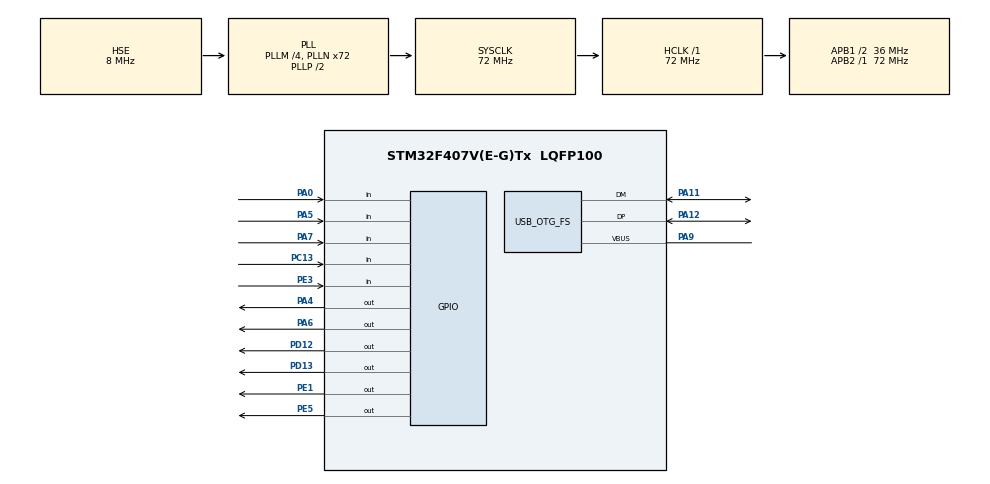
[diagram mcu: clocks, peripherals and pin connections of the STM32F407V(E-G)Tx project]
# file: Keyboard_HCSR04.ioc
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FREERTOS.Tasks01=jump,24,128,jump_thread,Default,NULL,Dynamic,NULL,NULL;right,24,128,right_thread,Default,NULL,Dynamic,NULL,NULL;debug,8,128,debug_thread,Default,NULL,Dynamic,NULL,NULL
Mcu.Family=STM32F4
Mcu.Name=STM32F407V(E-G)Tx
Mcu.Package=LQFP100
NVIC.OTG_FS_IRQn=true\:5\:0\:false\:false\:true\:true\:false\:true\:true
NVIC.PriorityGroup=NVIC_PRIORITYGROUP_4
NVIC.TIM6_DAC_IRQn=true\:15\:0\:false\:false\:true\:false\:false\:true\:true
NVIC.TimeBase=TIM6_DAC_IRQn
NVIC.TimeBaseIP=TIM6
PA0-WKUP.Signal=GPIO_Input
PA11.Mode=Device_Only
PA11.Signal=USB_OTG_FS_DM
PA12.Mode=Device_Only
PA12.Signal=USB_OTG_FS_DP
PA4.Signal=GPIO_Output
PA5.Signal=GPIO_Input
PA6.Signal=GPIO_Output
PA7.Signal=GPIO_Input
PA9.Mode=Activate_VBUS
PA9.Signal=USB_OTG_FS_VBUS
PC13-ANTI_TAMP.Signal=GPIO_Input
PD12.Signal=GPIO_Output
PD13.Signal=GPIO_Output
PE1.Signal=GPIO_Output
PE3.Signal=GPIO_Input
PE5.Signal=GPIO_Output
PH0-OSC_IN.Mode=HSE-External-Oscillator
PH0-OSC_IN.Signal=RCC_OSC_IN
PH1-OSC_OUT.Mode=HSE-External-Oscillator
PH1-OSC_OUT.Signal=RCC_OSC_OUT
ProjectManager.HeapSize=0x200
ProjectManager.StackSize=0x400
ProjectManager.TargetToolchain=CMake
RCC.48MHZClocksFreq_Value=48000000
RCC.AHBFreq_Value=72000000
RCC.APB1CLKDivider=RCC_HCLK_DIV2
RCC.APB1Freq_Value=36000000
RCC.APB1TimFreq_Value=72000000
RCC.APB2Freq_Value=72000000
RCC.APB2TimFreq_Value=72000000
RCC.CortexFreq_Value=72000000
RCC.HCLKFreq_Value=72000000
RCC.HSE_VALUE=8000000
RCC.HSI_VALUE=16000000
RCC.LSE_VALUE=32768
RCC.PLLM=4
RCC.PLLN=72
RCC.PLLQ=3
RCC.SYSCLKFreq_VALUE=72000000
RCC.SYSCLKSource=RCC_SYSCLKSOURCE_PLLCLK
RCC.VCOOutputFreq_Value=144000000
TIM1.Prescaler=72-1
USB_DEVICE.CLASS_NAME_FS=CUSTOM_HID
USB_DEVICE.USBD_CUSTOM_HID_REPORT_DESC_SIZE-CUSTOM_HID_FS=63
USB_DEVICE.VirtualMode-CUSTOM_HID_FS=CustomHid
USB_DEVICE.VirtualModeFS=Custom_Hid_FS
USB_OTG_FS.VirtualMode=Device_Only
VP_FREERTOS_VS_CMSIS_V2.Mode=CMSIS_V2
VP_SYS_VS_tim6.Mode=TIM6
VP_TIM1_VS_ClockSourceINT.Mode=Internal
VP_USB_DEVICE_VS_USB_DEVICE_CUSTOM_HID_FS.Mode=CUSTOM_HID_FS
board=custom

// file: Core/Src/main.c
/* USER CODE BEGIN Header */
/**
  ******************************************************************************
  * @file           : main.c
  * @brief          : Main program body
  ******************************************************************************
  * @attention
  *
  * Copyright (c) 2025 STMicroelectronics.
  * All rights reserved.
  *
  * This software is licensed under terms that can be found in the LICENSE file
  * in the root directory of this software component.
  * If no LICENSE file comes with this software, it is provided AS-IS.
  *
  ******************************************************************************
  */
/* USER CODE END Header */
#include "main.h"
#include "cmsis_os.h"
#include "usb_device.h"

/* USER CODE BEGIN Includes */
#include <stdint.h>
#include <stdbool.h>
#include "usbd_customhid.h"
/* USER CODE END Includes */

/* USER CODE BEGIN PD */
#define SENSOR_1_TRIGGER_PORT            GPIOE
#define SENSOR_1_TRIGGER_PIN             GPIO_PIN_1
#define SENSOR_1_ECHO_PORT               GPIOE
#define SENSOR_1_ECHO_PIN                GPIO_PIN_3
#define SENSOR_2_TRIGGER_PORT            GPIOE
#define SENSOR_2_TRIGGER_PIN             GPIO_PIN_5
#define SENSOR_2_ECHO_PORT               GPIOC
#define SENSOR_2_ECHO_PIN                GPIO_PIN_13
extern USBD_HandleTypeDef hUsbDeviceFS;
/* USER CODE END PD */

/* USER CODE BEGIN PM */
typedef struct {
  uint8_t MODIFIER;
  uint8_t RESERVED;
  uint8_t KEYCODE1;
  uint8_t KEYCODE2;
  uint8_t KEYCODE3;
  uint8_t KEYCODE4;
  uint8_t KEYCODE5;
  uint8_t KEYCODE6;
} KEYBOARD;
typedef struct{
  uint64_t numTicks1;
  uint64_t numTicks2;
} ECHO;
typedef struct{
  float distance1;
  float distance2;
  float avg_distance;
} DISTANCE;
/* USER CODE END PM */

TIM_HandleTypeDef htim1;

/* Definitions for jump */
osThreadId_t jumpHandle;
const osThreadAttr_t jump_attributes = {
  .name = "jump",
  .stack_size = 128 * 4,
  .priority = (osPriority_t) osPriorityNormal,
};
/* Definitions for right */
osThreadId_t rightHandle;
const osThreadAttr_t right_attributes = {
  .name = "right",
  .stack_size = 128 * 4,
  .priority = (osPriority_t) osPriorityNormal,
};
/* Definitions for debug */
osThreadId_t debugHandle;
const osThreadAttr_t debug_attributes = {
  .name = "debug",
  .stack_size = 128 * 4,
  .priority = (osPriority_t) osPriorityLow,
};
/* USER CODE BEGIN PV */
KEYBOARD JUMP_RIGHT_ON = {0x00,0x00,0x4F,0x1B,0x00,0x00,0x00,0x00};
KEYBOARD RIGHT = {0x00,0x00,0x4F,0x00,0x00,0x00,0x00,0x00};
KEYBOARD ENTER = {0x00,0x00,0x28,0x00,0x00,0x00,0x00,0x00};
KEYBOARD OFF = {0x00,0x00,0x00,0x00,0x00,0x00,0x00,0x00};
ECHO jump = {0,0};
ECHO right = {0,0};
DISTANCE distance_sensor = {0.0,0.0};
DISTANCE run_sensor = {0.0,0.0};
float sound_speed = 0.0343/2;
uint32_t start_time1 = 0;
uint32_t start_time2 = 0;
/* USER CODE END PV */

void SystemClock_Config(void);
static void MX_GPIO_Init(void);
static void MX_TIM1_Init(void);
void jump_thread(void *argument);
void right_thread(void *argument);
void debug_thread(void *argument);

/* USER CODE BEGIN PFP */
void delay_us(uint32_t usec);
void trigger(uint8_t sensor);
void keyboard_send_jump(void);
void keyboard_send_right(void);
/* USER CODE END PFP */

int main(void)
{

  /* MCU Configuration--------------------------------------------------------*/

  /* Reset of all peripherals, Initializes the Flash interface and the Systick. */
  HAL_Init();

  /* Configure the system clock */
  SystemClock_Config();

  /* Initialize all configured peripherals */
  MX_GPIO_Init();
  MX_TIM1_Init();
  /* USER CODE BEGIN 2 */
  HAL_GPIO_WritePin(GPIOA,GPIO_PIN_4, GPIO_PIN_RESET);
  HAL_GPIO_WritePin(GPIOA,GPIO_PIN_6, GPIO_PIN_RESET);
  /* USER CODE END 2 */

  /* Init scheduler */
  osKernelInitialize();

  /* USER CODE BEGIN RTOS_TIMERS */
  /* start timers, add new ones, ... */
  HAL_TIM_Base_Start(&htim1);
  /* USER CODE END RTOS_TIMERS */

  /* Create the thread(s) */
  /* creation of jump */
  jumpHandle = osThreadNew(jump_thread, NULL, &jump_attributes);

  /* creation of right */
  rightHandle = osThreadNew(right_thread, NULL, &right_attributes);

  /* creation of debug */
  debugHandle = osThreadNew(debug_thread, NULL, &debug_attributes);

  /* Start scheduler */
  osKernelStart();

  /* We should never get here as control is now taken by the scheduler */

  /* Infinite loop */
  while (1)
  {

  }
}

void SystemClock_Config(void)
{
  RCC_OscInitTypeDef RCC_OscInitStruct = {0};
  RCC_ClkInitTypeDef RCC_ClkInitStruct = {0};

  /** Configure the main internal regulator output voltage
  */
  __HAL_RCC_PWR_CLK_ENABLE();
  __HAL_PWR_VOLTAGESCALING_CONFIG(PWR_REGULATOR_VOLTAGE_SCALE1);

  /** Initializes the RCC Oscillators according to the specified parameters
  * in the RCC_OscInitTypeDef structure.
  */
  RCC_OscInitStruct.OscillatorType = RCC_OSCILLATORTYPE_HSE;
  RCC_OscInitStruct.HSEState = RCC_HSE_ON;
  RCC_OscInitStruct.PLL.PLLState = RCC_PLL_ON;
  RCC_OscInitStruct.PLL.PLLSource = RCC_PLLSOURCE_HSE;
  RCC_OscInitStruct.PLL.PLLM = 4;
  RCC_OscInitStruct.PLL.PLLN = 72;
  RCC_OscInitStruct.PLL.PLLP = RCC_PLLP_DIV2;
  RCC_OscInitStruct.PLL.PLLQ = 3;
  if (HAL_RCC_OscConfig(&RCC_OscInitStruct) != HAL_OK)
  {
    Error_Handler();
  }

  /** Initializes the CPU, AHB and APB buses clocks
  */
  RCC_ClkInitStruct.ClockType = RCC_CLOCKTYPE_HCLK|RCC_CLOCKTYPE_SYSCLK
                              |RCC_CLOCKTYPE_PCLK1|RCC_CLOCKTYPE_PCLK2;
  RCC_ClkInitStruct.SYSCLKSource = RCC_SYSCLKSOURCE_PLLCLK;
  RCC_ClkInitStruct.AHBCLKDivider = RCC_SYSCLK_DIV1;
  RCC_ClkInitStruct.APB1CLKDivider = RCC_HCLK_DIV2;
  RCC_ClkInitStruct.APB2CLKDivider = RCC_HCLK_DIV1;

  if (HAL_RCC_ClockConfig(&RCC_ClkInitStruct, FLASH_LATENCY_2) != HAL_OK)
  {
    Error_Handler();
  }
}

static void MX_TIM1_Init(void)
{

  TIM_ClockConfigTypeDef sClockSourceConfig = {0};
  TIM_MasterConfigTypeDef sMasterConfig = {0};

  htim1.Instance = TIM1;
  htim1.Init.Prescaler = 72-1;
  htim1.Init.CounterMode = TIM_COUNTERMODE_UP;
  htim1.Init.Period = 65535;
  htim1.Init.ClockDivision = TIM_CLOCKDIVISION_DIV1;
  htim1.Init.RepetitionCounter = 0;
  htim1.Init.AutoReloadPreload = TIM_AUTORELOAD_PRELOAD_DISABLE;
  if (HAL_TIM_Base_Init(&htim1) != HAL_OK)
  {
    Error_Handler();
  }
  sClockSourceConfig.ClockSource = TIM_CLOCKSOURCE_INTERNAL;
  if (HAL_TIM_ConfigClockSource(&htim1, &sClockSourceConfig) != HAL_OK)
  {
    Error_Handler();
  }
  sMasterConfig.MasterOutputTrigger = TIM_TRGO_RESET;
  sMasterConfig.MasterSlaveMode = TIM_MASTERSLAVEMODE_DISABLE;
  if (HAL_TIMEx_MasterConfigSynchronization(&htim1, &sMasterConfig) != HAL_OK)
  {
    Error_Handler();
  }

}

static void MX_GPIO_Init(void)
{
  GPIO_InitTypeDef GPIO_InitStruct = {0};

  /* GPIO Ports Clock Enable */
  __HAL_RCC_GPIOE_CLK_ENABLE();
  __HAL_RCC_GPIOC_CLK_ENABLE();
  __HAL_RCC_GPIOH_CLK_ENABLE();
  __HAL_RCC_GPIOA_CLK_ENABLE();
  __HAL_RCC_GPIOD_CLK_ENABLE();

  /*Configure GPIO pin Output Level */
  HAL_GPIO_WritePin(GPIOE, GPIO_PIN_5|GPIO_PIN_1, GPIO_PIN_RESET);

  /*Configure GPIO pin Output Level */
  HAL_GPIO_WritePin(GPIOA, GPIO_PIN_4|GPIO_PIN_6, GPIO_PIN_RESET);

  /*Configure GPIO pin Output Level */
  HAL_GPIO_WritePin(GPIOD, GPIO_PIN_12|GPIO_PIN_13, GPIO_PIN_RESET);

  /*Configure GPIO pin : PE3 */
  GPIO_InitStruct.Pin = GPIO_PIN_3;
  GPIO_InitStruct.Mode = GPIO_MODE_INPUT;
  GPIO_InitStruct.Pull = GPIO_NOPULL;
  HAL_GPIO_Init(GPIOE, &GPIO_InitStruct);

  /*Configure GPIO pins : PE5 PE1 */
  GPIO_InitStruct.Pin = GPIO_PIN_5|GPIO_PIN_1;
  GPIO_InitStruct.Mode = GPIO_MODE_OUTPUT_PP;
  GPIO_InitStruct.Pull = GPIO_NOPULL;
  GPIO_InitStruct.Speed = GPIO_SPEED_FREQ_LOW;
  HAL_GPIO_Init(GPIOE, &GPIO_InitStruct);

  /*Configure GPIO pin : PC13 */
  GPIO_InitStruct.Pin = GPIO_PIN_13;
  GPIO_InitStruct.Mode = GPIO_MODE_INPUT;
  GPIO_InitStruct.Pull = GPIO_NOPULL;
  HAL_GPIO_Init(GPIOC, &GPIO_InitStruct);

  /*Configure GPIO pins : PA0 PA5 PA7 */
  GPIO_InitStruct.Pin = GPIO_PIN_0|GPIO_PIN_5|GPIO_PIN_7;
  GPIO_InitStruct.Mode = GPIO_MODE_INPUT;
  GPIO_InitStruct.Pull = GPIO_NOPULL;
  HAL_GPIO_Init(GPIOA, &GPIO_InitStruct);

  /*Configure GPIO pins : PA4 PA6 */
  GPIO_InitStruct.Pin = GPIO_PIN_4|GPIO_PIN_6;
  GPIO_InitStruct.Mode = GPIO_MODE_OUTPUT_PP;
  GPIO_InitStruct.Pull = GPIO_NOPULL;
  GPIO_InitStruct.Speed = GPIO_SPEED_FREQ_LOW;
  HAL_GPIO_Init(GPIOA, &GPIO_InitStruct);

  /*Configure GPIO pins : PD12 PD13 */
  GPIO_InitStruct.Pin = GPIO_PIN_12|GPIO_PIN_13;
  GPIO_InitStruct.Mode = GPIO_MODE_OUTPUT_PP;
  GPIO_InitStruct.Pull = GPIO_NOPULL;
  GPIO_InitStruct.Speed = GPIO_SPEED_FREQ_LOW;
  HAL_GPIO_Init(GPIOD, &GPIO_InitStruct);

}

/* USER CODE BEGIN 4 */
void delay_us(uint32_t usec){
  __HAL_TIM_SET_COUNTER(&htim1,0);
  while(__HAL_TIM_GET_COUNTER(&htim1) < usec);
}

void trigger(uint8_t sensor){
  switch(sensor){
    case 1:
      HAL_GPIO_WritePin(SENSOR_1_TRIGGER_PORT,SENSOR_1_TRIGGER_PIN, GPIO_PIN_SET);
      delay_us(10);
      HAL_GPIO_WritePin(SENSOR_1_TRIGGER_PORT,SENSOR_1_TRIGGER_PIN, GPIO_PIN_RESET);
      break;
    case 2:
      HAL_GPIO_WritePin(SENSOR_2_TRIGGER_PORT,SENSOR_2_TRIGGER_PIN, GPIO_PIN_SET);
      delay_us(10);
      HAL_GPIO_WritePin(SENSOR_2_TRIGGER_PORT,SENSOR_2_TRIGGER_PIN, GPIO_PIN_RESET);
      break;
    default:
      //printf("The given sensor does not exist");
      break;
  }
}

void keyboard_send_jump(void){
  USBD_CUSTOM_HID_SendReport(&hUsbDeviceFS,(uint8_t*)&JUMP_RIGHT_ON,sizeof(JUMP_RIGHT_ON));
  osDelay(1000);
  USBD_CUSTOM_HID_SendReport(&hUsbDeviceFS,(uint8_t*)&OFF,sizeof(OFF));
  osDelay(50);
}

void keyboard_send_right(void){
  USBD_CUSTOM_HID_SendReport(&hUsbDeviceFS,(uint8_t*)&RIGHT,sizeof(RIGHT));
  osDelay(1000);
  USBD_CUSTOM_HID_SendReport(&hUsbDeviceFS,(uint8_t*)&OFF,sizeof(OFF));
  osDelay(50);
}

/* USER CODE END 4 */

void jump_thread(void *argument)
{
  /* init code for USB_DEVICE */
  MX_USB_DEVICE_Init();
  /* USER CODE BEGIN 5 */
  HAL_GPIO_WritePin(GPIOD, GPIO_PIN_13, GPIO_PIN_SET);
  /* Infinite loop */
  for(;;)
  {
    jump.numTicks1 = 0;
    jump.numTicks2 = 0;
    trigger(2);
    start_time2 = HAL_GetTick();
    while(HAL_GPIO_ReadPin(SENSOR_2_ECHO_PORT, SENSOR_2_ECHO_PIN) == GPIO_PIN_RESET){
      if(HAL_GetTick() - start_time2 > 10000)
        NVIC_SystemReset();
    }
    while(HAL_GPIO_ReadPin(SENSOR_2_ECHO_PORT,SENSOR_2_ECHO_PIN) == GPIO_PIN_SET){
        jump.numTicks1++;
        delay_us(2);
    }
    distance_sensor.distance1 = (jump.numTicks1 + 0.0f)*sound_speed;
    osDelay(100);
    trigger(2);
    while(HAL_GPIO_ReadPin(SENSOR_2_ECHO_PORT, SENSOR_2_ECHO_PIN) == GPIO_PIN_RESET);
    while(HAL_GPIO_ReadPin(SENSOR_2_ECHO_PORT,SENSOR_2_ECHO_PIN) == GPIO_PIN_SET){
      jump.numTicks2++;
      delay_us(2);
    }
    distance_sensor.distance2 = (jump.numTicks2 + 0.0f)*sound_speed;
    distance_sensor.avg_distance = (distance_sensor.distance1 + distance_sensor.distance2)/2;
    if(distance_sensor.avg_distance < 3.0)
      keyboard_send_jump();
    osDelay(60);
  }
  /* USER CODE END 5 */
}

void right_thread(void *argument)
{
  /* USER CODE BEGIN right_thread */
  HAL_GPIO_WritePin(GPIOD, GPIO_PIN_12, GPIO_PIN_SET);
  /* Infinite loop */
  for(;;)
  {
    right.numTicks1 = 0;
    right.numTicks2 = 0;
    trigger(1);
    start_time1 = HAL_GetTick();
    while(HAL_GPIO_ReadPin(SENSOR_1_ECHO_PORT, SENSOR_1_ECHO_PIN) == GPIO_PIN_RESET){
      if(HAL_GetTick() - start_time1 > 10000)
        NVIC_SystemReset();
    }
    while(HAL_GPIO_ReadPin(SENSOR_1_ECHO_PORT,SENSOR_1_ECHO_PIN) == GPIO_PIN_SET){
      right.numTicks1++;
      delay_us(2);
    }
    run_sensor.distance1 = (right.numTicks1 + 0.0f)*sound_speed;
    osDelay(100);
    trigger(1);
    while(HAL_GPIO_ReadPin(SENSOR_1_ECHO_PORT, SENSOR_1_ECHO_PIN) == GPIO_PIN_RESET);
    while(HAL_GPIO_ReadPin(SENSOR_1_ECHO_PORT,SENSOR_1_ECHO_PIN) == GPIO_PIN_SET){
      right.numTicks2++;
      delay_us(2);
    }
    run_sensor.distance2 = (jump.numTicks2 + 0.0f)*sound_speed;
    run_sensor.avg_distance = (run_sensor.distance1 + run_sensor.distance2)/2;
    if(run_sensor.avg_distance < 3.0)
      keyboard_send_right();
    /*
    if(run_sensor.avg_distance < 3.0){
      while(1){
        keyboard_send_right();
        osDelay(60);
        right.numTicks1 = 0;
        right.numTicks2 = 0;
        trigger(1);
        while(HAL_GPIO_ReadPin(SENSOR_1_ECHO_PORT, SENSOR_1_ECHO_PIN) == GPIO_PIN_RESET);
        while(HAL_GPIO_ReadPin(SENSOR_1_ECHO_PORT,SENSOR_1_ECHO_PIN) == GPIO_PIN_SET){
          right.numTicks1++;
          delay_us(2);
        }
        run_sensor.distance1 = (right.numTicks1 + 0.0f)*sound_speed;
        osDelay(100);
        trigger(1);
        while(HAL_GPIO_ReadPin(SENSOR_1_ECHO_PORT, SENSOR_1_ECHO_PIN) == GPIO_PIN_RESET);
        while(HAL_GPIO_ReadPin(SENSOR_1_ECHO_PORT,SENSOR_1_ECHO_PIN) == GPIO_PIN_SET){
          right.numTicks2++;
          delay_us(2);
        }
        run_sensor.distance2 = (jump.numTicks2 + 0.0f)*sound_speed;
        run_sensor.avg_distance = (run_sensor.distance1 + run_sensor.distance2)/2;
        if(run_sensor.avg_distance < 3.0)
          continue;
        else
          break;
      }
    }
      */
    osDelay(60);
  }
  /* USER CODE END right_thread */
}

void debug_thread(void *argument)
{
  /* USER CODE BEGIN debug_thread */
  eTaskState state1 = eTaskGetState(right_thread);
  eTaskState state2 = eTaskGetState(jump_thread);
  /* Infinite loop */
  for(;;)
  {
    if(state1 == eDeleted || state1 == eBlocked || state1 == eSuspended)
      HAL_GPIO_WritePin(GPIOD, GPIO_PIN_12, GPIO_PIN_RESET);
    else if(state2 == eDeleted || state2 == eBlocked || state2 == eSuspended)
      HAL_GPIO_WritePin(GPIOD, GPIO_PIN_13, GPIO_PIN_RESET);
    else
      osDelay(1);
  }
  /* USER CODE END debug_thread */
}

void HAL_TIM_PeriodElapsedCallback(TIM_HandleTypeDef *htim)
{
  if (htim->Instance == TIM6)
  {
    HAL_IncTick();
  }
}

void Error_Handler(void)
{
  __disable_irq();
  while (1)
  {
  }
}
